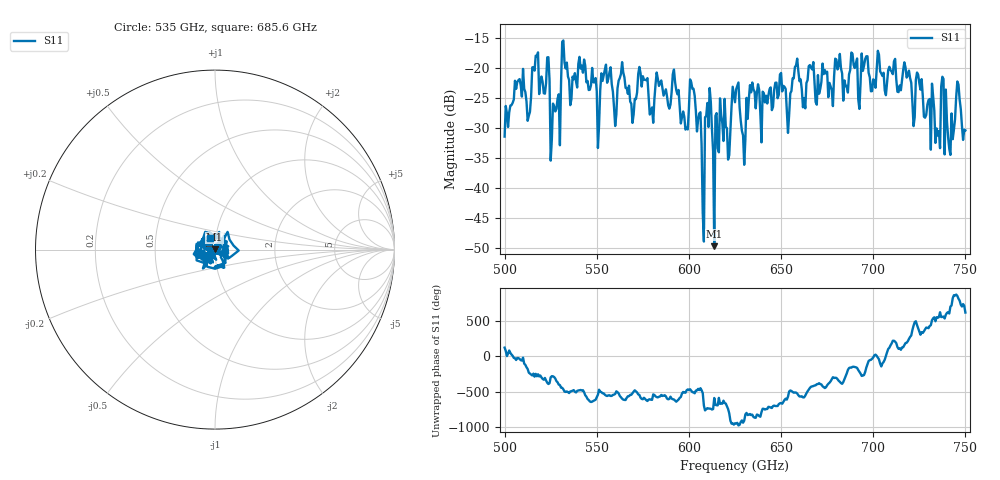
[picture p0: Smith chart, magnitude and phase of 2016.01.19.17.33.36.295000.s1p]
!Created with skrf (http://scikit-rf.org).
# GHz S RI R 50.0
!freq ReS11 ImS11
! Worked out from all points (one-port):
!   401 points, 500 GHz to 750 GHz, reference 50 ohm
!   lowest |S11| = -49.6 dB at 613.8 GHz (marker M1), VSWR 1.01, Z = 49.8 + j0.258 ohm
!   |S11| at or under -10 dB: start of sweep to end of sweep
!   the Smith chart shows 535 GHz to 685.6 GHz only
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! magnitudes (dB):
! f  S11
! 500 GHz  -31.4
! 506.9 GHz  -22.3
! 513.1 GHz  -27.9
! 516.9 GHz  -17.9
! 523.1 GHz  -18.2
! 526.2 GHz  -25.9
! 531.2 GHz  -15.6
! 550.6 GHz  -33.3
! 562.5 GHz  -21.6
! 593.8 GHz  -24.3
! 598.1 GHz  -30.2
! 601.9 GHz  -23.4
! 608.1 GHz  -48.9
! 610.6 GHz  -29.8
! 613.8 GHz  -49.6
! 618.1 GHz  -29.1
! 621.2 GHz  -35.2
! 625 GHz  -25.6
! 629.4 GHz  -31.2
! 634.4 GHz  -22.3
! 656.2 GHz  -21.7
! 687.5 GHz  -20.3
! 718.8 GHz  -21.1
! 735 GHz  -31.2
! 738.1 GHz  -21.8
! 742.5 GHz  -27.5
! 746.2 GHz  -22.7
! 750 GHz  -30.3
